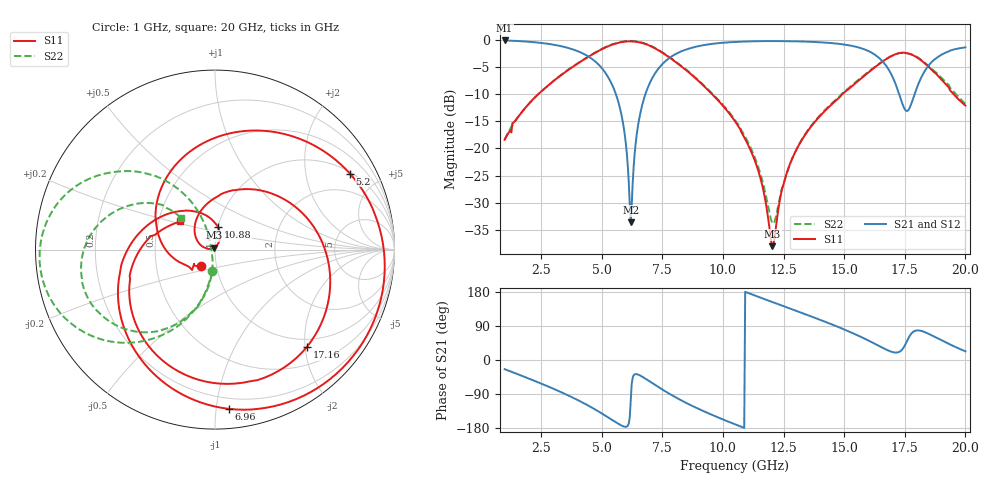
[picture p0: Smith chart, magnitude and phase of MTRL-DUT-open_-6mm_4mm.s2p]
! Multiline TRL de-embedded results
! Powered by MTRL v0.1 based on Matlab. Written by Simon.
! 29-Mar-2016 20:36:43
# hz S ma R 50
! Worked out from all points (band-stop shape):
!   476 points, 1 GHz to 20 GHz, reference 50 ohm
!   highest |S21| = -0.08 dB at 1 GHz (marker M1); lowest = -33.6 dB at 6.2 GHz (marker M2)
!   |S21| within 3 dB of the highest: start of sweep to 4.469 GHz; 7.869 GHz to 16.38 GHz (8.511 GHz wide, 70.2 % of centre) (the widest 2 of 3)
!   lowest |S11| = -38.0 dB at 12.04 GHz (marker M3), VSWR 1.03, Z = 49.5 + j1.14 ohm
!   |S11| at or under -10 dB: start of sweep to 2.384 GHz; 9.558 GHz to 14.92 GHz (5.366 GHz wide, 43.8 % of centre); 19.51 GHz to end of sweep
!   |S22| runs from -33.9 to -0.2 dB; largest |S21 - S12| = 1.4e-08
!   S11 on the Smith chart (normalised r, x): 1 GHz: 0.84, -0.15; 5.2 GHz: 1.06, +3.51; 6.96 GHz: 0.13, -1.08; 10.88 GHz: 1.00, +0.26; 17.16 GHz: 0.83, -2.04; 20 GHz: 0.65, +0.22
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1e9  0.1203 -131.1  0.9909 -24.2  0.9909 -24.2  0.1206 -97.9
2.92e9  0.4024 144.8  0.9134 -73.3  0.9134 -73.3  0.4018 -111.6
4.2e9  0.6457 84.5  0.7568 -111.8  0.7568 -111.8  0.6491 -128.2
5.2e9  0.8625 29.4  0.4814 -148.7  0.4814 -148.7  0.8682 -148.5
5.84e9  0.9582 -11.0  0.1931 -173.5  0.1931 -173.5  0.9645 -165.6
6.2e9  0.9726 -34.8  0.02091 -108.9  0.02091 -108.9  0.9792 -176.4
6.52e9  0.9562 -56.2  0.1721 -38.9  0.1721 -38.9  0.9624 174.0
6.96e9  0.8909 -85.0  0.3891 -55.7  0.3891 -55.7  0.8976 161.2
7.36e9  0.7996 -109.6  0.5507 -72.2  0.5507 -72.2  0.806 150.8
8.08e9  0.6203 -149.8  0.7482 -99.4  0.7482 -99.4  0.6267 135.9
8.96e9  0.4263 166.4  0.8748 -127.9  0.8748 -127.9  0.4315 123.3
1.052e10  0.1755 98.2  0.96 -170.2  0.96 -170.2  0.1806 112.6
1.088e10  0.1267 82.6  0.9682 -179.1  0.9682 -179.1  0.1327 112.3
1.204e10  0.01255 113.9  0.9779 152.9  0.9779 152.9  0.02049 179.5
1.268e10  0.06368 168.2  0.9754 137.8  0.9754 137.8  0.06323 -102.3
1.368e10  0.1638 134.0  0.9618 114.1  0.9618 114.1  0.1663 -98.4
1.564e10  0.4309 48.3  0.8487 62.6  0.8487 62.6  0.4389 -115.2
1.684e10  0.6898 -23.1  0.532 24.5  0.532 24.5  0.6898 -141.9
1.716e10  0.7458 -46.7  0.3721 19.7  0.3721 19.7  0.7447 -153.5
1.76e10  0.7549 -81.4  0.2215 51.0  0.2215 51.0  0.7555 -170.9
1.836e10  0.5998 -138.1  0.5327 72.7  0.5327 72.7  0.6096 160.7
2e10  0.2489 141.0  0.8562 23.0  0.8562 23.0  0.2574 137.2
